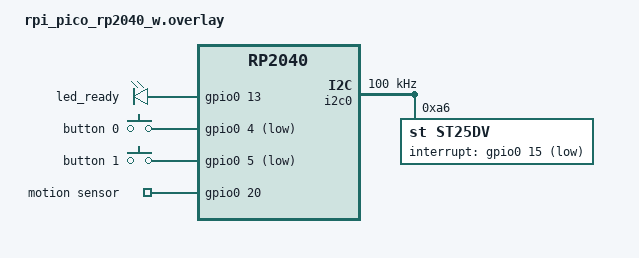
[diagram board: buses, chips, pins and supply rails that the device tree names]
#include <zephyr/dt-bindings/pwm/pwm.h>
#include <zephyr/dt-bindings/led/led.h>

/*
&wifi {
        status = "okay";
};
&adc {
      status = "okay";
};
*/


/ {

    leds {
        compatible = "gpio-leds";
        led_ready: led_ready {
            gpios = <&gpio0 13 ( GPIO_ACTIVE_HIGH) > ;
        };
    };
    buttons {
        compatible = "gpio-keys";
        button0: button_0 {
     	    gpios = < &gpio0 4 (GPIO_PULL_UP | GPIO_ACTIVE_LOW) >;
     	    label = "button 0";
   	    };
   	    button1: button_1 {
            gpios = < &gpio0 5 (GPIO_PULL_UP | GPIO_ACTIVE_LOW) >;
     	    label = "button 1";
        };
    };
    motion_sensors {
        compatible = "gpio-keys";
   	motionsensor: motionsensor {
   	    gpios = < &gpio0 20 (GPIO_PULL_DOWN | GPIO_ACTIVE_HIGH) >;
	    label = "motion sensor";
        };	   
    };
    aliases {
//        sensor = &adc;
    };
    zephyr,user {
//      io-channels = <&adc 0>;
    };
};

    
&i2c0 {
    pinctrl-0 = <&i2c0_default>; // default is SDA = GP4, SCL = GP5
    pinctrl-names = "default";
    status = "okay";
    clock-frequency = <I2C_BITRATE_STANDARD>;

    st25dv: st25dv@a6 {
        compatible = "st,st25dv";
        reg = <0xa6>;
        interrupt-gpios = <&gpio0 15 GPIO_ACTIVE_LOW>;
        status = "okay";
    };
};


&flash0 {
	status = "okay";
	partitions {
        compatible = "fixed-partitions";
	    #address-cells = < 0x1 >;
		#size-cells = < 0x1 >;
		/* Reserved memory for the second stage bootloader */
		second_stage_bootloader: partition@0 {
			label = "second_stage_bootloader";
			reg = <0x00000000 0x100>;
			read-only;
		};

		/*
		 * Usable flash. Starts at 0x100, after the bootloader. The partition
		 * size is 2MB minus the 0x100 bytes taken by the bootloader.
		 */
		code_partition: partition@100 {
			label = "code-partition";
			reg = <0x100 (DT_SIZE_M(2) - 0x100)>;
			read-only;
		};
		storage_partition: partition@1F0000 {
			label = "storage";
			reg = < 0x1F0000 0x6000 >;
		};
    };
};
